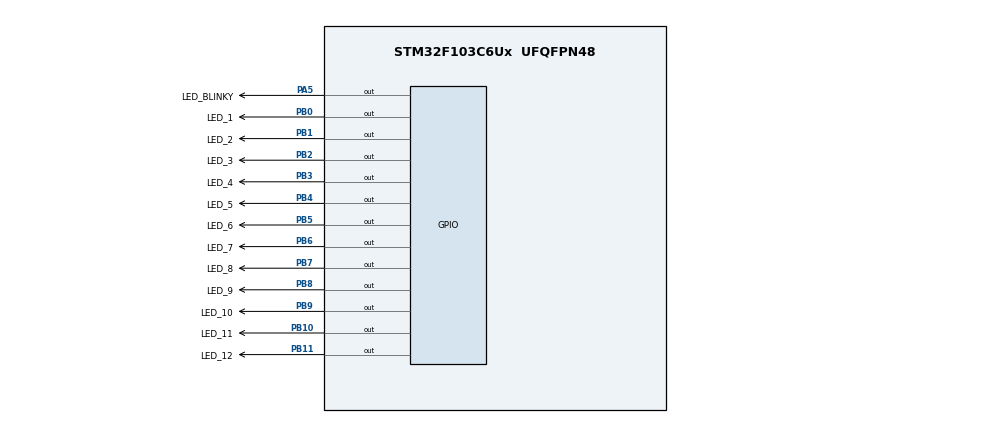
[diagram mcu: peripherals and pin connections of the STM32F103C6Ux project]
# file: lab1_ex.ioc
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Mcu.Family=STM32F1
Mcu.Name=STM32F103C6Ux
Mcu.Package=UFQFPN48
NVIC.PriorityGroup=NVIC_PRIORITYGROUP_4
PA5.GPIO_Label=LED_BLINKY
PA5.Signal=GPIO_Output
PB0.GPIO_Label=LED_1
PB0.Signal=GPIO_Output
PB1.GPIO_Label=LED_2
PB1.Signal=GPIO_Output
PB10.GPIO_Label=LED_11
PB10.Signal=GPIO_Output
PB11.GPIO_Label=LED_12
PB11.Signal=GPIO_Output
PB2.GPIO_Label=LED_3
PB2.Signal=GPIO_Output
PB3.GPIO_Label=LED_4
PB3.Signal=GPIO_Output
PB4.GPIO_Label=LED_5
PB4.Signal=GPIO_Output
PB5.GPIO_Label=LED_6
PB5.Signal=GPIO_Output
PB6.GPIO_Label=LED_7
PB6.Signal=GPIO_Output
PB7.GPIO_Label=LED_8
PB7.Signal=GPIO_Output
PB8.GPIO_Label=LED_9
PB8.Signal=GPIO_Output
PB9.GPIO_Label=LED_10
PB9.Signal=GPIO_Output
ProjectManager.HeapSize=0x200
ProjectManager.StackSize=0x400
ProjectManager.TargetToolchain=STM32CubeIDE
RCC.APB1Freq_Value=8000000
RCC.APB2Freq_Value=8000000
VP_SYS_VS_ND.Mode=No_Debug
board=custom

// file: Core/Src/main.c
/* USER CODE BEGIN Header */
/**
  ******************************************************************************
  * @file           : main.c
  * @brief          : Main program body
  ******************************************************************************
  * @attention
  *
  * <h2><center>&copy; Copyright (c) 2024 STMicroelectronics.
  * All rights reserved.</center></h2>
  *
  * This software component is licensed by ST under BSD 3-Clause license,
  * the "License"; You may not use this file except in compliance with the
  * License. You may obtain a copy of the License at:
  *                        opensource.org/licenses/BSD-3-Clause
  *
  ******************************************************************************
  */
/* USER CODE END Header */
#include "main.h"

void SystemClock_Config(void);
static void MX_GPIO_Init(void);

int main(void)
{
  /* USER CODE BEGIN 1 */
	//TO DO ex6
	unsigned int counter = 12;
	int sec = 0;
	int min = 0;
	int hour = 0;

	void clearAllClock() {
		HAL_GPIO_WritePin(GPIOB, GPIO_PIN_All, RESET);
	}

	void setNumberOnClock(int num) {
		if (num >= 1 && num <= 12) HAL_GPIO_WritePin(GPIOB, GPIO_PIN_0 << (num-1), SET);
	}

	void clearNumberOnClock(int num) {
			if (num >= 1 && num <= 12) HAL_GPIO_WritePin(GPIOB, GPIO_PIN_0 << (num-1), RESET);
	}

	void display(int hour, int min, int sec) {
		clearAllClock();
		if (sec/5 == 0) {
			setNumberOnClock(12);
		}
		else {
			setNumberOnClock(sec/5);
		}

		if (min/5 == 0) {
			setNumberOnClock(12);
		}
		else {
			setNumberOnClock(min/5);
		}

		if (hour == 0) {
			setNumberOnClock(12);
		}
		else {
			setNumberOnClock(hour);
		}
	}

	void exercise10_run() {
		sec++;
		if (sec >= 60) {
			sec = 0;
			min++;
		}
		if (min >= 60) {
			min = 0;
			hour++;
		}
		if (hour >= 12) {
			hour = 0;
		}
		display(hour, min, sec);
	}

	void init_exercise6() {
		while (counter >= 0) {
			HAL_GPIO_TogglePin(GPIOB, GPIO_PIN_0 << (counter-1));
			counter--;
			HAL_Delay(1000);
		}

		if (counter <= 0) counter = 12;

	}

  /* USER CODE END 1 */

  /* MCU Configuration--------------------------------------------------------*/

  /* Reset of all peripherals, Initializes the Flash interface and the Systick. */
  HAL_Init();

  /* Configure the system clock */
  SystemClock_Config();

  /* Initialize all configured peripherals */
  MX_GPIO_Init();

  /* Infinite loop */
  /* USER CODE BEGIN WHILE */
  while (1)
  {
	  exercise10_run();
	  HAL_Delay(10);
	  //init_exercise6();

    /* USER CODE END WHILE */

    /* USER CODE BEGIN 3 */
	  //clearAllClock();
//	  setNumberOnClock(counter);
//	  HAL_Delay(1000);
//	  clearNumberOnClock(counter);
//	  if (counter <= 0) counter = 12;
//	  else counter--;
//	  HAL_Delay(1000);
  }
  /* USER CODE END 3 */
}

void SystemClock_Config(void)
{
  RCC_OscInitTypeDef RCC_OscInitStruct = {0};
  RCC_ClkInitTypeDef RCC_ClkInitStruct = {0};

  /** Initializes the RCC Oscillators according to the specified parameters
  * in the RCC_OscInitTypeDef structure.
  */
  RCC_OscInitStruct.OscillatorType = RCC_OSCILLATORTYPE_HSI;
  RCC_OscInitStruct.HSIState = RCC_HSI_ON;
  RCC_OscInitStruct.HSICalibrationValue = RCC_HSICALIBRATION_DEFAULT;
  RCC_OscInitStruct.PLL.PLLState = RCC_PLL_NONE;
  if (HAL_RCC_OscConfig(&RCC_OscInitStruct) != HAL_OK)
  {
    Error_Handler();
  }
  /** Initializes the CPU, AHB and APB buses clocks
  */
  RCC_ClkInitStruct.ClockType = RCC_CLOCKTYPE_HCLK|RCC_CLOCKTYPE_SYSCLK
                              |RCC_CLOCKTYPE_PCLK1|RCC_CLOCKTYPE_PCLK2;
  RCC_ClkInitStruct.SYSCLKSource = RCC_SYSCLKSOURCE_HSI;
  RCC_ClkInitStruct.AHBCLKDivider = RCC_SYSCLK_DIV1;
  RCC_ClkInitStruct.APB1CLKDivider = RCC_HCLK_DIV1;
  RCC_ClkInitStruct.APB2CLKDivider = RCC_HCLK_DIV1;

  if (HAL_RCC_ClockConfig(&RCC_ClkInitStruct, FLASH_LATENCY_0) != HAL_OK)
  {
    Error_Handler();
  }
}

static void MX_GPIO_Init(void)
{
  GPIO_InitTypeDef GPIO_InitStruct = {0};

  /* GPIO Ports Clock Enable */
  __HAL_RCC_GPIOA_CLK_ENABLE();
  __HAL_RCC_GPIOB_CLK_ENABLE();

  /*Configure GPIO pin Output Level */
  HAL_GPIO_WritePin(LED_BLINKY_GPIO_Port, LED_BLINKY_Pin, GPIO_PIN_RESET);

  /*Configure GPIO pin Output Level */
  HAL_GPIO_WritePin(GPIOB, LED_1_Pin|LED_2_Pin|LED_3_Pin|LED_11_Pin
                          |LED_12_Pin|LED_4_Pin|LED_5_Pin|LED_6_Pin
                          |LED_7_Pin|LED_8_Pin|LED_9_Pin|LED_10_Pin, GPIO_PIN_RESET);

  /*Configure GPIO pin : LED_BLINKY_Pin */
  GPIO_InitStruct.Pin = LED_BLINKY_Pin;
  GPIO_InitStruct.Mode = GPIO_MODE_OUTPUT_PP;
  GPIO_InitStruct.Pull = GPIO_NOPULL;
  GPIO_InitStruct.Speed = GPIO_SPEED_FREQ_LOW;
  HAL_GPIO_Init(LED_BLINKY_GPIO_Port, &GPIO_InitStruct);

  /*Configure GPIO pins : LED_1_Pin LED_2_Pin LED_3_Pin LED_11_Pin
                           LED_12_Pin LED_4_Pin LED_5_Pin LED_6_Pin
                           LED_7_Pin LED_8_Pin LED_9_Pin LED_10_Pin */
  GPIO_InitStruct.Pin = LED_1_Pin|LED_2_Pin|LED_3_Pin|LED_11_Pin
                          |LED_12_Pin|LED_4_Pin|LED_5_Pin|LED_6_Pin
                          |LED_7_Pin|LED_8_Pin|LED_9_Pin|LED_10_Pin;
  GPIO_InitStruct.Mode = GPIO_MODE_OUTPUT_PP;
  GPIO_InitStruct.Pull = GPIO_NOPULL;
  GPIO_InitStruct.Speed = GPIO_SPEED_FREQ_LOW;
  HAL_GPIO_Init(GPIOB, &GPIO_InitStruct);

}

void Error_Handler(void)
{
  __disable_irq();
  while (1)
  {
  }
}

/************************ (C) COPYRIGHT STMicroelectronics *****END OF FILE****/
